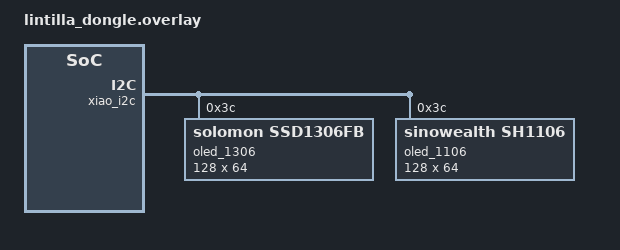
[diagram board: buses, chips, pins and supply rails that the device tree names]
#include "lintilla.dtsi"

/ {
    chosen {
        zmk,kscan = &mock_kscan;
        zephyr,display = &oled_1306;
    };

    mock_kscan: mock_kscan_0 {
        compatible = "zmk,kscan-mock";
        columns = <0>;
        rows = <0>;
        events = <0>;
    };
};

&xiao_i2c {
    status = "okay";

    oled_1306: ssd1306@3c {
        compatible = "solomon,ssd1306fb";
        reg = <0x3c>;
        width = <128>;
        height = <64>;
        segment-offset = <0>;
        page-offset = <0>;
        display-offset = <0>;
        multiplex-ratio = <63>;
//        segment-remap;
//        com-invdir;
        inversion-on;
        prechargep = <0x22>;
    };

    oled_1106: ssh1106@3c {
        compatible = "sinowealth,sh1106";
        reg = <0x3c>;
        width = <128>;
        height = <64>;
        segment-offset = <2>;
        page-offset = <0>;
        display-offset = <0>;
        multiplex-ratio = <63>;
//        segment-remap;
//        com-invdir;
        inversion-on;
        prechargep = <0x22>;
    };
};

// vim: expandtab softtabstop=4 shiftwidth=4 filetype=devicetree
